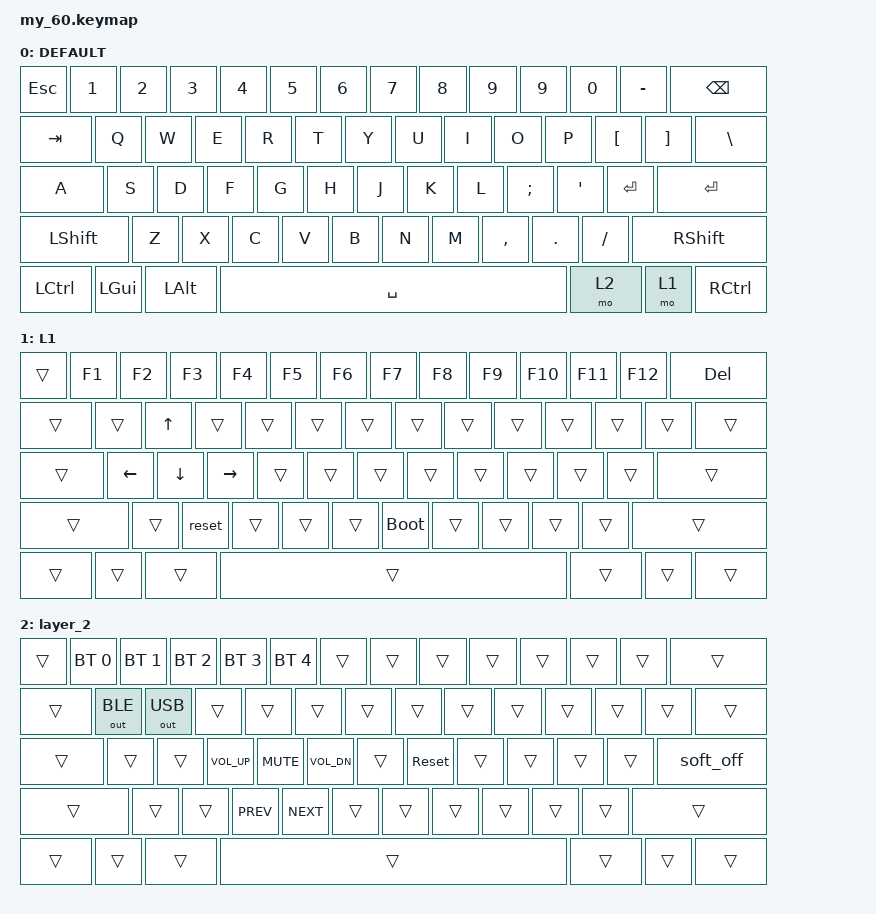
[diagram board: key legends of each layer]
#include <behaviors.dtsi>
#include <dt-bindings/zmk/bt.h>
#include <dt-bindings/zmk/keys.h>
#include <dt-bindings/zmk/outputs.h>

/ {
    keymap {
        compatible = "zmk,keymap";

        DEFAULT {
            bindings = <
&kp ESC    &kp N1    &kp N2    &kp N3     &kp N4  &kp N5  &kp N6     &kp N7  &kp N8  &kp N9     &kp N9   &kp N0    &kp MINUS  &kp BSPC
&kp TAB    &kp Q     &kp W     &kp E      &kp R   &kp T   &kp Y      &kp U   &kp I   &kp O      &kp P    &kp LBKT  &kp RBKT   &kp BSLH
&kp A      &kp S     &kp D     &kp F      &kp G   &kp H   &kp J      &kp K   &kp L   &kp SEMI   &kp SQT  &kp RET   &kp RET
&kp LSHFT            &kp Z     &kp X      &kp C   &kp V   &kp B      &kp N   &kp M   &kp COMMA  &kp DOT  &kp FSLH  &kp RSHFT
&kp LCTRL  &kp LGUI  &kp LALT  &kp SPACE  &mo 2   &mo 1   &kp RCTRL
            >;
        };

        L1 {
            bindings = <
&trans  &kp F1    &kp F2    &kp F3     &kp F4  &kp F5  &kp F6  &kp F7       &kp F8  &kp F9  &kp F10  &kp F11  &kp F12  &kp DEL
&trans  &trans    &kp UP    &trans     &trans  &trans  &trans  &trans       &trans  &trans  &trans   &trans   &trans   &trans
&trans  &kp LEFT  &kp DOWN  &kp RIGHT  &trans  &trans  &trans  &trans       &trans  &trans  &trans   &trans   &trans
&trans            &trans    &reset     &trans  &trans  &trans  &bootloader  &trans  &trans  &trans   &trans   &trans
&trans  &trans    &trans    &trans     &trans  &trans  &trans
            >;
        };

        layer_2 {
            bindings = <
&trans  &bt BT_SEL 0  &bt BT_SEL 1  &bt BT_SEL 2     &bt BT_SEL 3  &bt BT_SEL 4  &trans  &trans      &trans  &trans  &trans  &trans  &trans     &trans
&trans  &out OUT_BLE  &out OUT_USB  &trans           &trans        &trans        &trans  &trans      &trans  &trans  &trans  &trans  &trans     &trans
&trans  &trans        &trans        &kp C_VOLUME_UP  &kp K_MUTE    &kp C_VOL_DN  &trans  &sys_reset  &trans  &trans  &trans  &trans  &soft_off
&trans                &trans        &trans           &kp C_PREV    &kp C_NEXT    &trans  &trans      &trans  &trans  &trans  &trans  &trans
&trans  &trans        &trans        &trans           &trans        &trans        &trans
            >;
        };
    };
};
